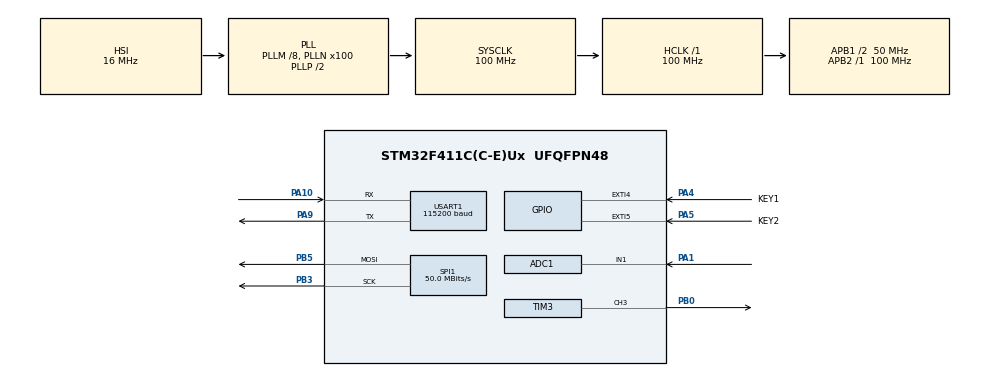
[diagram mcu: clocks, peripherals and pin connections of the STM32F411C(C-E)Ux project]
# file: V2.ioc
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ADC1.Channel-0\#ChannelRegularConversion=ADC_CHANNEL_1
ADC1.Channel-IN1=ADC_CHANNEL_1
ADC1.ClockPrescaler=ADC_CLOCK_SYNC_PCLK_DIV4
ADC1.ContinuousConvMode=DISABLE
ADC1.DMAContinuousRequests=DISABLE
ADC1.DataAlign=ADC_DATAALIGN_RIGHT
ADC1.DiscontinuousConvMode=DISABLE
ADC1.EOCSelection=ADC_EOC_SINGLE_CONV
ADC1.EnableAnalogWatchDog=false
ADC1.ExternalTrigConv=ADC_SOFTWARE_START
ADC1.ExternalTrigConvEdge=ADC_EXTERNALTRIGCONVEDGE_NONE
ADC1.InjNumberOfConversion=0
ADC1.Mode=__NULL
ADC1.NbrOfConversion=1
ADC1.Rank-0\#ChannelRegularConversion=1
ADC1.Resolution=ADC_RESOLUTION_12B
ADC1.SamplingTime-0\#ChannelRegularConversion=ADC_SAMPLETIME_3CYCLES
ADC1.ScanConvMode=DISABLE
ADC1.master=1
Dma.Request0=SPI1_TX
Dma.Request1=USART1_RX
Dma.Request2=USART1_TX
Dma.SPI1_TX.0.Direction=DMA_MEMORY_TO_PERIPH
Dma.SPI1_TX.0.FIFOMode=DMA_FIFOMODE_DISABLE
Dma.SPI1_TX.0.Instance=DMA2_Stream2
Dma.SPI1_TX.0.MemDataAlignment=DMA_MDATAALIGN_BYTE
Dma.SPI1_TX.0.MemInc=DMA_MINC_ENABLE
Dma.SPI1_TX.0.Mode=DMA_NORMAL
Dma.SPI1_TX.0.PeriphDataAlignment=DMA_PDATAALIGN_BYTE
Dma.SPI1_TX.0.PeriphInc=DMA_PINC_DISABLE
Dma.SPI1_TX.0.Priority=DMA_PRIORITY_LOW
Dma.USART1_RX.1.Direction=DMA_PERIPH_TO_MEMORY
Dma.USART1_RX.1.FIFOMode=DMA_FIFOMODE_DISABLE
Dma.USART1_RX.1.Instance=DMA2_Stream5
Dma.USART1_RX.1.MemDataAlignment=DMA_MDATAALIGN_BYTE
Dma.USART1_RX.1.MemInc=DMA_MINC_ENABLE
Dma.USART1_RX.1.Mode=DMA_NORMAL
Dma.USART1_RX.1.PeriphDataAlignment=DMA_PDATAALIGN_BYTE
Dma.USART1_RX.1.PeriphInc=DMA_PINC_DISABLE
Dma.USART1_RX.1.Priority=DMA_PRIORITY_LOW
Dma.USART1_TX.2.Direction=DMA_MEMORY_TO_PERIPH
Dma.USART1_TX.2.FIFOMode=DMA_FIFOMODE_DISABLE
Dma.USART1_TX.2.Instance=DMA2_Stream7
Dma.USART1_TX.2.MemDataAlignment=DMA_MDATAALIGN_BYTE
Dma.USART1_TX.2.MemInc=DMA_MINC_ENABLE
Dma.USART1_TX.2.Mode=DMA_NORMAL
Dma.USART1_TX.2.PeriphDataAlignment=DMA_PDATAALIGN_BYTE
Dma.USART1_TX.2.PeriphInc=DMA_PINC_DISABLE
Dma.USART1_TX.2.Priority=DMA_PRIORITY_LOW
FREERTOS.Tasks01=defaultTask,24,1024,StartDefaultTask,Default,NULL,Dynamic,NULL,NULL
FREERTOS.configUSE_TICK_HOOK=1
Mcu.Family=STM32F4
Mcu.Name=STM32F411C(C-E)Ux
Mcu.Package=UFQFPN48
NVIC.DMA2_Stream2_IRQn=true\:5\:0\:false\:false\:true\:true\:false\:true\:true
NVIC.DMA2_Stream5_IRQn=true\:5\:0\:false\:false\:true\:true\:false\:true\:true
NVIC.DMA2_Stream7_IRQn=true\:5\:0\:false\:false\:true\:true\:false\:true\:true
NVIC.EXTI4_IRQn=true\:5\:0\:false\:false\:true\:true\:true\:true\:true
NVIC.EXTI9_5_IRQn=true\:5\:0\:false\:false\:true\:true\:true\:true\:true
NVIC.PriorityGroup=NVIC_PRIORITYGROUP_4
NVIC.RTC_WKUP_IRQn=true\:5\:0\:false\:false\:true\:true\:true\:true\:true
NVIC.TIM1_UP_TIM10_IRQn=true\:15\:0\:false\:false\:true\:false\:false\:true\:true
NVIC.TimeBase=TIM1_UP_TIM10_IRQn
NVIC.TimeBaseIP=TIM1
NVIC.USART1_IRQn=true\:5\:0\:false\:false\:true\:true\:false\:true\:true
PA1.Signal=ADCx_IN1
PA10.Mode=Asynchronous
PA10.Signal=USART1_RX
PA13.Mode=Serial_Wire
PA13.Signal=SYS_JTMS-SWDIO
PA14.Mode=Serial_Wire
PA14.Signal=SYS_JTCK-SWCLK
PA4.GPIO_Label=KEY1
PA4.GPIO_ModeDefaultEXTI=GPIO_MODE_IT_FALLING
PA4.GPIO_PuPd=GPIO_PULLUP
PA4.Signal=GPXTI4
PA5.GPIO_Label=KEY2
PA5.GPIO_ModeDefaultEXTI=GPIO_MODE_IT_FALLING
PA5.GPIO_PuPd=GPIO_PULLUP
PA5.Signal=GPXTI5
PA9.Mode=Asynchronous
PA9.Signal=USART1_TX
PB0.Signal=S_TIM3_CH3
PB3.Mode=TX_Only_Simplex_Unidirect_Master
PB3.Signal=SPI1_SCK
PB5.Mode=TX_Only_Simplex_Unidirect_Master
PB5.Signal=SPI1_MOSI
PC14-OSC32_IN.Mode=LSE-External-Oscillator
PC14-OSC32_IN.Signal=RCC_OSC32_IN
PC15-OSC32_OUT.Mode=LSE-External-Oscillator
PC15-OSC32_OUT.Signal=RCC_OSC32_OUT
ProjectManager.HeapSize=0x600
ProjectManager.StackSize=0x800
ProjectManager.TargetToolchain=MDK-ARM V5.32
RCC.48MHZClocksFreq_Value=50000000
RCC.AHBFreq_Value=100000000
RCC.APB1CLKDivider=RCC_HCLK_DIV2
RCC.APB1Freq_Value=50000000
RCC.APB1TimFreq_Value=100000000
RCC.APB2Freq_Value=100000000
RCC.APB2TimFreq_Value=100000000
RCC.CortexFreq_Value=100000000
RCC.FLatency=FLASH_LATENCY_3
RCC.HCLKFreq_Value=100000000
RCC.HSE_VALUE=25000000
RCC.HSI_VALUE=16000000
RCC.PLLM=8
RCC.PLLN=100
RCC.RCC_RTC_Clock_Source=RCC_RTCCLKSOURCE_LSE
RCC.RCC_RTC_Clock_SourceVirtual=RCC_RTCCLKSOURCE_LSE
RCC.SYSCLKFreq_VALUE=100000000
RCC.SYSCLKSource=RCC_SYSCLKSOURCE_PLLCLK
RCC.VCOOutputFreq_Value=200000000
RTC.AsynchPrediv=127
RTC.Date=7
RTC.DayLightSaving=RTC_DAYLIGHTSAVING_NONE
RTC.Format=RTC_FORMAT_BIN
RTC.HourFormat=RTC_HOURFORMAT_24
RTC.Hours=23
RTC.Minutes=23
RTC.Month=RTC_MONTH_JULY
RTC.Seconds=0
RTC.StoreOperation=RTC_STOREOPERATION_RESET
RTC.SynchPrediv=255
RTC.WakeUpClock=RTC_WAKEUPCLOCK_RTCCLK_DIV16
RTC.WakeUpCounter=10240
RTC.WeekDay=RTC_WEEKDAY_FRIDAY
RTC.Year=26
SH.ADCx_IN1.0=ADC1_IN1,IN1
SH.S_TIM3_CH3.0=TIM3_CH3,PWM Generation3 CH3
SPI1.BaudRatePrescaler=SPI_BAUDRATEPRESCALER_2
SPI1.CLKPhase=SPI_PHASE_2EDGE
SPI1.CLKPolarity=SPI_POLARITY_HIGH
SPI1.CRCCalculation=SPI_CRCCALCULATION_DISABLE
SPI1.CalculateBaudRate=50.0 MBits/s
SPI1.DataSize=SPI_DATASIZE_8BIT
SPI1.Direction=SPI_DIRECTION_2LINES
SPI1.FirstBit=SPI_FIRSTBIT_MSB
SPI1.Mode=SPI_MODE_MASTER
SPI1.NSS=SPI_NSS_SOFT
SPI1.TIMode=SPI_TIMODE_DISABLE
SPI1.VirtualType=VM_MASTER
TIM3.AutoReloadPreload=TIM_AUTORELOAD_PRELOAD_DISABLE
TIM3.Channel-PWM\ Generation3\ CH3=TIM_CHANNEL_3
TIM3.ClockDivision=TIM_CLOCKDIVISION_DIV1
TIM3.CounterMode=TIM_COUNTERMODE_UP
TIM3.OC3Preload_PWM=ENABLE
TIM3.OCFastMode_PWM-PWM\ Generation3\ CH3=TIM_OCFAST_DISABLE
TIM3.OCMode_PWM-PWM\ Generation3\ CH3=TIM_OCMODE_PWM1
TIM3.OCPolarity_3=TIM_OCPOLARITY_HIGH
TIM3.Period=300
TIM3.Prescaler=99
TIM3.Pulse-PWM\ Generation3\ CH3=0
TIM3.TIM_MasterOutputTrigger=TIM_TRGO_RESET
TIM3.TIM_MasterSlaveMode=TIM_MASTERSLAVEMODE_DISABLE
USART1.BaudRate=115200
USART1.Mode=MODE_TX_RX
USART1.OverSampling=UART_OVERSAMPLING_16
USART1.Parity=PARITY_NONE
USART1.StopBits=STOPBITS_1
USART1.VirtualMode=VM_ASYNC
USART1.WordLength=WORDLENGTH_8B
VP_FREERTOS_VS_CMSIS_V2.Mode=CMSIS_V2
VP_RTC_VS_RTC_Activate.Mode=RTC_Enabled
VP_RTC_VS_RTC_Calendar.Mode=RTC_Calendar
VP_RTC_VS_RTC_WakeUp_intern.Mode=WakeUp
VP_SYS_VS_tim1.Mode=TIM1
board=custom

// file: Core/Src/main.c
/* USER CODE BEGIN Header */
/**
  ******************************************************************************
  * @file           : main.c
  * @brief          : Main program body
  ******************************************************************************
  * @attention
  *
  * Copyright (c) 2026 STMicroelectronics.
  * All rights reserved.
  *
  * This software is licensed under terms that can be found in the LICENSE file
  * in the root directory of this software component.
  * If no LICENSE file comes with this software, it is provided AS-IS.
  *
  ******************************************************************************
  */
/* USER CODE END Header */
#include "main.h"
#include "cmsis_os.h"
#include "adc.h"
#include "dma.h"
#include "rtc.h"
#include "spi.h"
#include "tim.h"
#include "usart.h"
#include "gpio.h"

void SystemClock_Config(void);
void MX_FREERTOS_Init(void);

int main(void)
{

  /* MCU Configuration--------------------------------------------------------*/

  /* Reset of all peripherals, Initializes the Flash interface and the Systick. */
  HAL_Init();

  /* Configure the system clock */
  SystemClock_Config();

  /* Initialize all configured peripherals */
  MX_GPIO_Init();
  MX_DMA_Init();
  MX_RTC_Init();
  MX_SPI1_Init();
  MX_USART1_UART_Init();
  MX_TIM3_Init();
  MX_ADC1_Init();

  /* Init scheduler */
  osKernelInitialize();  /* Call init function for freertos objects (in cmsis_os2.c) */
  MX_FREERTOS_Init();

  /* Start scheduler */
  osKernelStart();

  /* We should never get here as control is now taken by the scheduler */

  /* Infinite loop */
  while (1)
  {

  }
}

void SystemClock_Config(void)
{
  RCC_OscInitTypeDef RCC_OscInitStruct = {0};
  RCC_ClkInitTypeDef RCC_ClkInitStruct = {0};

  /** Configure the main internal regulator output voltage
  */
  __HAL_RCC_PWR_CLK_ENABLE();
  __HAL_PWR_VOLTAGESCALING_CONFIG(PWR_REGULATOR_VOLTAGE_SCALE1);

  /** Initializes the RCC Oscillators according to the specified parameters
  * in the RCC_OscInitTypeDef structure.
  */
  RCC_OscInitStruct.OscillatorType = RCC_OSCILLATORTYPE_HSI|RCC_OSCILLATORTYPE_LSE;
  RCC_OscInitStruct.LSEState = RCC_LSE_ON;
  RCC_OscInitStruct.HSIState = RCC_HSI_ON;
  RCC_OscInitStruct.HSICalibrationValue = RCC_HSICALIBRATION_DEFAULT;
  RCC_OscInitStruct.PLL.PLLState = RCC_PLL_ON;
  RCC_OscInitStruct.PLL.PLLSource = RCC_PLLSOURCE_HSI;
  RCC_OscInitStruct.PLL.PLLM = 8;
  RCC_OscInitStruct.PLL.PLLN = 100;
  RCC_OscInitStruct.PLL.PLLP = RCC_PLLP_DIV2;
  RCC_OscInitStruct.PLL.PLLQ = 4;
  if (HAL_RCC_OscConfig(&RCC_OscInitStruct) != HAL_OK)
  {
    Error_Handler();
  }

  /** Initializes the CPU, AHB and APB buses clocks
  */
  RCC_ClkInitStruct.ClockType = RCC_CLOCKTYPE_HCLK|RCC_CLOCKTYPE_SYSCLK
                              |RCC_CLOCKTYPE_PCLK1|RCC_CLOCKTYPE_PCLK2;
  RCC_ClkInitStruct.SYSCLKSource = RCC_SYSCLKSOURCE_PLLCLK;
  RCC_ClkInitStruct.AHBCLKDivider = RCC_SYSCLK_DIV1;
  RCC_ClkInitStruct.APB1CLKDivider = RCC_HCLK_DIV2;
  RCC_ClkInitStruct.APB2CLKDivider = RCC_HCLK_DIV1;

  if (HAL_RCC_ClockConfig(&RCC_ClkInitStruct, FLASH_LATENCY_3) != HAL_OK)
  {
    Error_Handler();
  }
}

void HAL_TIM_PeriodElapsedCallback(TIM_HandleTypeDef *htim)
{
  if (htim->Instance == TIM1)
  {
    HAL_IncTick();
  }
}

void Error_Handler(void)
{
  __disable_irq();
  while (1)
  {
  }
}

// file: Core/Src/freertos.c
/* USER CODE BEGIN Header */
/**
 ******************************************************************************
 * File Name          : freertos.c
 * Description        : Code for freertos applications
 ******************************************************************************
 * @attention
 *
 * Copyright (c) 2026 STMicroelectronics.
 * All rights reserved.
 *
 * This software is licensed under terms that can be found in the LICENSE file
 * in the root directory of this software component.
 * If no LICENSE file comes with this software, it is provided AS-IS.
 *
 ******************************************************************************
 */
/* USER CODE END Header */

#include "FreeRTOS.h"
#include "task.h"
#include "main.h"
#include "cmsis_os.h"

/* Definitions for defaultTask */
osThreadId_t defaultTaskHandle;
const osThreadAttr_t defaultTask_attributes = {
  .name = "defaultTask",
  .stack_size = 1024 * 4,
  .priority = (osPriority_t) osPriorityNormal,
};

void StartDefaultTask(void *argument);

void MX_FREERTOS_Init(void); /* (MISRA C 2004 rule 8.1) */

/* Hook prototypes */
void vApplicationTickHook(void);

/* USER CODE BEGIN 3 */
void vApplicationTickHook(void)
{
  /* This function will be called by each tick interrupt if
  configUSE_TICK_HOOK is set to 1 in FreeRTOSConfig.h. User code can be
  added here, but the tick hook is called from an interrupt context, so
  code must not attempt to block, and only the interrupt safe FreeRTOS API
  functions can be used (those that end in FromISR()). */
  lv_tick_inc(1);
}
/* USER CODE END 3 */

void MX_FREERTOS_Init(void) {

  /* USER CODE BEGIN RTOS_QUEUES */
  /* add queues, ... */
  KeyBinarySemHandle = osSemaphoreNew(1, 0, &KeyBinary_attributes);
  KeyQueueHandle = osMessageQueueNew(4, sizeof(uint8_t), &keyQueue_attributes);
  SensorDataQueueHandle=osMessageQueueNew(2,sizeof(Sensor_Data),&SensorData_attributes);
  DateTimeQueueHandle=osMessageQueueNew(2,sizeof(DateTime),&DateTimeQueue_attributes);
  BreakIdleQueueHandle=osMessageQueueNew(5,sizeof(uint8_t),&BreakIdleQueue_attributes);
  IdleQueueHandle=osMessageQueueNew(1,sizeof(uint8_t),&IdleQueue_attributes);
  LCDUpdateQueueHandle=osMessageQueueNew(4,sizeof(uint8_t),&LCDUpdateQueue_attributes);
  /* USER CODE END RTOS_QUEUES */

  /* Create the thread(s) */
  /* creation of defaultTask */
  defaultTaskHandle = osThreadNew(StartDefaultTask, NULL, &defaultTask_attributes);

  /* USER CODE BEGIN RTOS_THREADS */
  /* add threads, ... */
  HardwareInitHandle = osThreadNew(StartHardwareTask, NULL, &HardwareTask_attributes);
  KeyTaskHandle=osThreadNew(StartKeyTask,NULL,&KeyTask_attributes);
  SensorDateTaskHandle=osThreadNew(StartSensorDataTask,NULL,&SensorDataTask_attributes);
  DateTimeTaskHandle=osThreadNew(StartDateTimeTask,NULL,&DateTimeTask_attributes);
  SleepTaskHandle=osThreadNew(SleepTask,NULL,&SleepTask_attributes);
  WakeUpTaskHandle=osThreadNew(WakeUpTask,NULL,&WakeUpTask_attributes);
  LCDTaskhandle=osThreadNew(LCDTask,NULL,&LCDTask_attributes);
  /* USER CODE END RTOS_THREADS */

}

void StartDefaultTask(void *argument)
{
  /* USER CODE BEGIN StartDefaultTask */
  lvglTask(NULL);
  /* USER CODE END StartDefaultTask */
}
